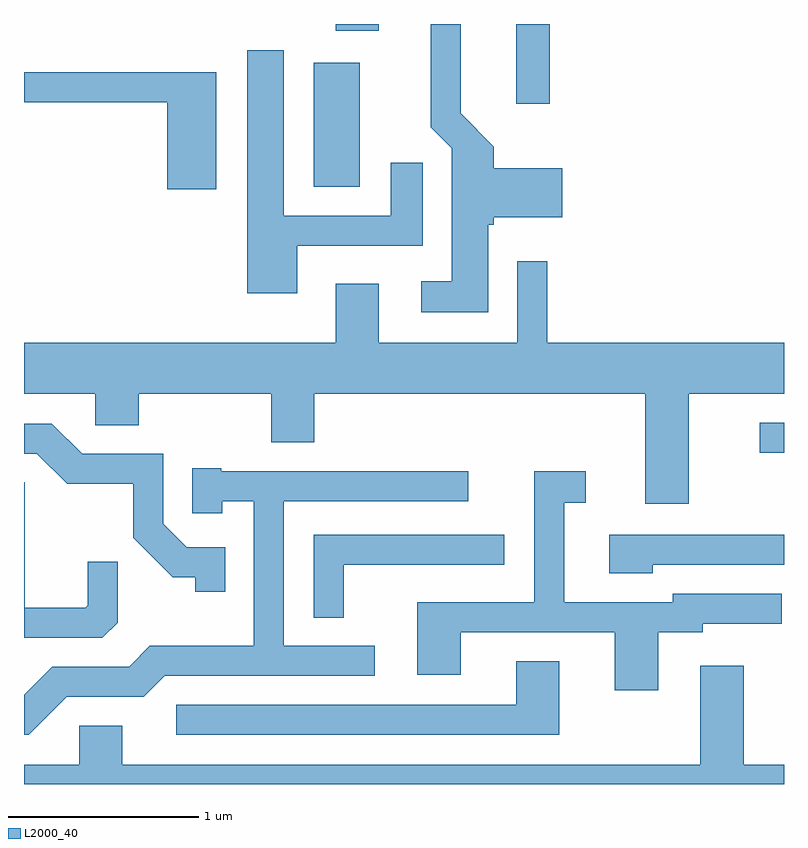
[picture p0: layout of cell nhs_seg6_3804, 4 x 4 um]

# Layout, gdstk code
import gdstk
lib = gdstk.Library(unit=1e-6, precision=1e-09)
def R(c, l, rs):  # rectangles x0, y0, x1, y1
    for r in rs: c.add(gdstk.rectangle(r[:2], r[2:], *l))
def P(c, l, *ps):  # polygons
    for p in ps: c.add(gdstk.Polygon(p, *l))
L2000_40 = (2000, 40)

nhs_seg6_3804 = lib.new_cell('nhs_seg6_3804')
R(nhs_seg6_3804, L2000_40, [(303.483,1591.906,303.611,1592.064), (301.136,1593.306,301.379,1593.959), (302.201,1593.741,302.379,1594.162), (301.251,1594.126,301.479,1594.162)])
P(nhs_seg6_3804, L2000_40, [(302.054,1593.106),(302.084,1593.106),(302.084,1593.146),(302.444,1593.146),(302.444,1593.404),(302.084,1593.404),(302.084,1593.517),(301.909,1593.692),(301.909,1594.162),(301.751,1594.162),(301.751,1593.619),(301.861,1593.509),(301.861,1592.809),(301.703,1592.809),(301.703,1592.646),(302.054,1592.646)],
  [(301.049,1592.996),(301.709,1592.996),(301.709,1593.433),(301.541,1593.433),(301.541,1593.154),(300.979,1593.154),(300.979,1594.024),(300.786,1594.024),(300.786,1592.746),(301.049,1592.746)],
  [(300.624,1593.909),(299.611,1593.909),(299.611,1593.751),(300.366,1593.751),(300.366,1593.291),(300.624,1593.291)],
  [(302.881,1591.636),(303.109,1591.636),(303.109,1592.216),(303.611,1592.216),(303.611,1592.484),(302.364,1592.484),(302.364,1592.913),(302.206,1592.913),(302.206,1592.484),(301.479,1592.484),(301.479,1592.794),(301.251,1592.794),(301.251,1592.484),(299.611,1592.484),(299.611,1592.216),(299.986,1592.216),(299.986,1592.051),(300.214,1592.051),(300.214,1592.216),(300.911,1592.216),(300.911,1591.961),(301.139,1591.961),(301.139,1592.216),(302.881,1592.216)],
  [(300.669,1591.409),(300.467,1591.409),(300.344,1591.532),(300.344,1591.899),(299.917,1591.899),(299.757,1592.059),(299.611,1592.059),(299.611,1591.901),(299.679,1591.901),(299.839,1591.741),(300.186,1591.741),(300.186,1591.459),(300.394,1591.251),(300.511,1591.251),(300.511,1591.173),(300.669,1591.173)],
  [(299.837,1590.621),(300.242,1590.621),(300.352,1590.731),(301.458,1590.731),(301.458,1590.889),(300.979,1590.889),(300.979,1591.651),(301.948,1591.651),(301.948,1591.809),(300.65,1591.809),(300.65,1591.824),(300.496,1591.824),(300.496,1591.588),(300.654,1591.588),(300.654,1591.651),(300.821,1591.651),(300.821,1590.889),(300.274,1590.889),(300.164,1590.779),(299.759,1590.779),(299.611,1590.631),(299.611,1590.421),(299.637,1590.421)],
  [(302.949,1590.961),(303.184,1590.961),(303.184,1591.006),(303.598,1591.006),(303.598,1591.164),(303.026,1591.164),(303.026,1591.119),(302.454,1591.119),(302.454,1591.641),(302.568,1591.641),(302.568,1591.809),(302.296,1591.809),(302.296,1591.119),(301.681,1591.119),(301.681,1590.736),(301.909,1590.736),(301.909,1590.961),(302.721,1590.961),(302.721,1590.656),(302.949,1590.656)],
  [(300.104,1591.012),(300.104,1591.333),(299.946,1591.333),(299.946,1591.102),(299.934,1591.089),(299.614,1591.089),(299.614,1591.749),(299.611,1591.749),(299.611,1590.931),(300.024,1590.931)],
  [(301.294,1591.316),(302.138,1591.316),(302.138,1591.474),(301.136,1591.474),(301.136,1591.038),(301.294,1591.038)],
  [(302.919,1591.316),(303.611,1591.316),(303.611,1591.474),(302.691,1591.474),(302.691,1591.271),(302.919,1591.271)],
  [(302.429,1590.809),(302.201,1590.809),(302.201,1590.579),(300.413,1590.579),(300.413,1590.421),(302.429,1590.421)],
  [(303.611,1590.264),(303.399,1590.264),(303.399,1590.784),(303.171,1590.784),(303.171,1590.264),(300.129,1590.264),(300.129,1590.469),(299.901,1590.469),(299.901,1590.264),(299.611,1590.264),(299.611,1590.162),(303.611,1590.162)])

lib.write_gds('nhs_seg6_3804.gds')
